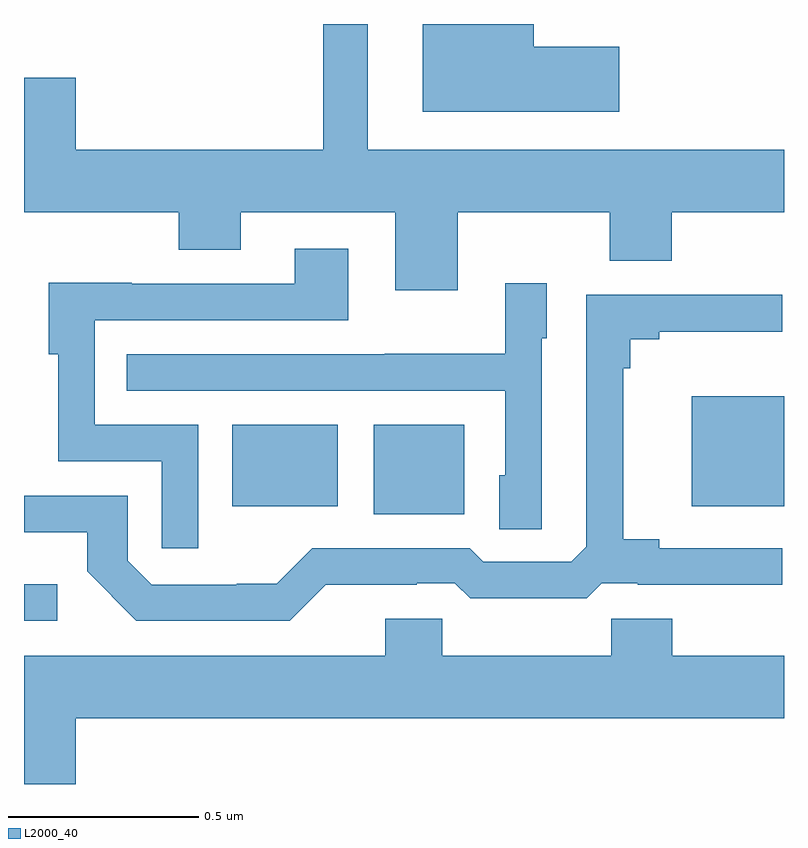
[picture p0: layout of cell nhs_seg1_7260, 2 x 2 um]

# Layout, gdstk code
import gdstk
lib = gdstk.Library(unit=1e-6, precision=1e-09)
def R(c, l, rs):  # rectangles x0, y0, x1, y1
    for r in rs: c.add(gdstk.rectangle(r[:2], r[2:], *l))
def P(c, l, *ps):  # polygons
    for p in ps: c.add(gdstk.Polygon(p, *l))
L2000_40 = (2000, 40)

nhs_seg1_7260 = lib.new_cell('nhs_seg1_7260')
R(nhs_seg1_7260, L2000_40, [(201,578.628,201.088,578.725), (201.92,578.909,202.159,579.145), (201.548,578.93,201.826,579.145), (202.757,578.93,203,579.22)])
P(nhs_seg1_7260, L2000_40, [(202.141,579.704),(202.541,579.704),(202.541,579.576),(202.705,579.576),(202.705,579.704),(203,579.704),(203,579.868),(201.904,579.868),(201.904,580.199),(201.787,580.199),(201.787,579.868),(201.136,579.868),(201.136,580.057),(201,580.057),(201,579.704),(201.407,579.704),(201.407,579.605),(201.571,579.605),(201.571,579.704),(201.977,579.704),(201.977,579.498),(202.141,579.498)],
  [(202.567,580.139),(202.342,580.139),(202.342,580.199),(202.049,580.199),(202.049,579.968),(202.567,579.968)],
  [(201.459,579.144),(201.186,579.144),(201.186,579.42),(201.853,579.42),(201.853,579.607),(201.713,579.607),(201.713,579.516),(201.283,579.516),(201.283,579.518),(201.065,579.518),(201.065,579.33),(201.09,579.33),(201.09,579.048),(201.363,579.048),(201.363,578.82),(201.459,578.82)],
  [(202.362,579.372),(202.375,579.372),(202.375,579.517),(202.266,579.517),(202.266,579.331),(201.949,579.331),(201.949,579.33),(201.271,579.33),(201.271,579.234),(202.266,579.234),(202.266,579.012),(202.25,579.012),(202.25,578.869),(202.362,578.869)],
  [(201.794,578.723),(202.034,578.723),(202.034,578.727),(202.134,578.727),(202.174,578.688),(202.481,578.688),(202.521,578.727),(202.615,578.727),(202.615,578.723),(202.996,578.723),(202.996,578.82),(202.672,578.82),(202.672,578.843),(202.577,578.843),(202.577,579.293),(202.595,579.293),(202.595,579.37),(202.672,579.37),(202.672,579.389),(202.996,579.389),(202.996,579.486),(202.479,579.486),(202.479,578.823),(202.44,578.784),(202.209,578.784),(202.173,578.82),(201.759,578.82),(201.665,578.726),(201.56,578.726),(201.56,578.724),(201.336,578.724),(201.273,578.787),(201.273,578.958),(201,578.958),(201,578.861),(201.166,578.861),(201.166,578.759),(201.296,578.628),(201.699,578.628)],
  [(201.136,578.372),(203,578.372),(203,578.536),(202.706,578.536),(202.706,578.634),(202.546,578.634),(202.546,578.536),(202.101,578.536),(202.101,578.634),(201.95,578.634),(201.95,578.536),(201,578.536),(201,578.199),(201.136,578.199)])

lib.write_gds('nhs_seg1_7260.gds')
